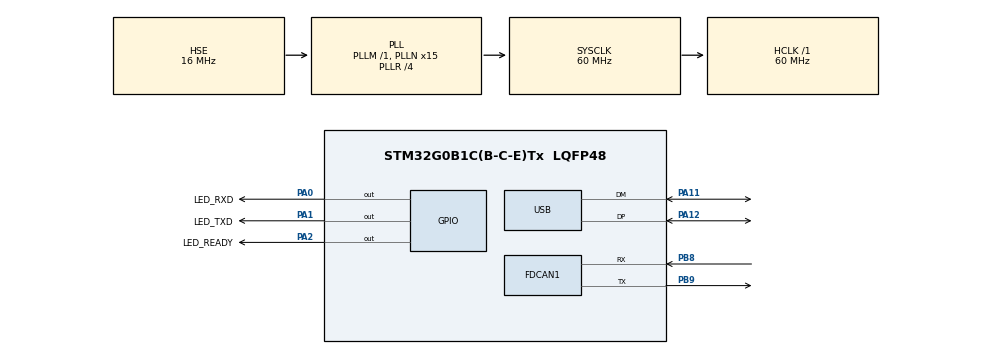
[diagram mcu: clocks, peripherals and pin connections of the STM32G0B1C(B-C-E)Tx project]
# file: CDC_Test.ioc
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FDCAN1.CalculateBaudRateNominal=749999
FDCAN1.CalculateTimeBitNominal=1333
FDCAN1.CalculateTimeQuantumNominal=266.6666666666667
Mcu.Family=STM32G0
Mcu.Name=STM32G0B1C(B-C-E)Tx
Mcu.Package=LQFP48
NVIC.USB_UCPD1_2_IRQn=true\:0\:0\:false\:false\:true\:true\:true\:true
PA0.GPIO_Label=LED_RXD
PA0.Signal=GPIO_Output
PA1.GPIO_Label=LED_TXD
PA1.Signal=GPIO_Output
PA11\ [PA9].Mode=Device
PA11\ [PA9].Signal=USB_DM
PA12\ [PA10].Mode=Device
PA12\ [PA10].Signal=USB_DP
PA13.Mode=Serial_Wire
PA13.Signal=SYS_SWDIO
PA14-BOOT0.Mode=Serial_Wire
PA14-BOOT0.Signal=SYS_SWCLK
PA2.GPIO_Label=LED_READY
PA2.Signal=GPIO_Output
PB8.Mode=FDCAN_Activate
PB8.Signal=FDCAN1_RX
PB9.Mode=FDCAN_Activate
PB9.Signal=FDCAN1_TX
PF0-OSC_IN\ (PF0).Mode=HSE-External-Oscillator
PF0-OSC_IN\ (PF0).Signal=RCC_OSC_IN
PF1-OSC_OUT\ (PF1).Mode=HSE-External-Oscillator
PF1-OSC_OUT\ (PF1).Signal=RCC_OSC_OUT
ProjectManager.HeapSize=0x400
ProjectManager.StackSize=0x400
ProjectManager.TargetToolchain=STM32CubeIDE
RCC.ADCFreq_Value=60000000
RCC.AHBFreq_Value=60000000
RCC.CortexFreq_Value=60000000
RCC.EXTERNAL_CLOCK_VALUE=48000
RCC.HCLKFreq_Value=60000000
RCC.HSE_VALUE=16000000
RCC.HSI48_VALUE=48000000
RCC.HSI_VALUE=16000000
RCC.LSE_VALUE=32768
RCC.PLLN=15
RCC.PLLQ=RCC_PLLQ_DIV8
RCC.PLLR=RCC_PLLR_DIV4
RCC.PLLSourceVirtual=RCC_PLLSOURCE_HSE
RCC.SYSCLKFreq_VALUE=60000000
RCC.SYSCLKSource=RCC_SYSCLKSOURCE_PLLCLK
RCC.USBFreq_Value=48000000
RCC.VCOOutputFreq_Value=240000000
USB_DEVICE.CLASS_NAME_FS=CDC
USB_DEVICE.VirtualMode=Cdc
USB_DEVICE.VirtualModeFS=Cdc_FS
VP_SYS_VS_DBSignals.Mode=DisableDeadBatterySignals
VP_USB_DEVICE_VS_USB_DEVICE_CDC_FS.Mode=CDC_FS
board=custom

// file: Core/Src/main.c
/* USER CODE BEGIN Header */
/**
  ******************************************************************************
  * @file           : main.c
  * @brief          : Main program body
  ******************************************************************************
  * @attention
  *
  * Copyright (c) 2024 STMicroelectronics.
  * All rights reserved.
  *
  * This software is licensed under terms that can be found in the LICENSE file
  * in the root directory of this software component.
  * If no LICENSE file comes with this software, it is provided AS-IS.
  *
  ******************************************************************************
  */
/* USER CODE END Header */
#include "main.h"
#include "fdcan.h"
#include "usb_device.h"
#include "gpio.h"

/* USER CODE BEGIN Includes */
#include "usbd_cdc_if.h"
#include "bootloader.h"
/* USER CODE END Includes */

void SystemClock_Config(void);

int main(void)
{

  /* USER CODE BEGIN 1 */
	bootloader_init();
  /* USER CODE END 1 */

  /* MCU Configuration--------------------------------------------------------*/

  /* Reset of all peripherals, Initializes the Flash interface and the Systick. */
  HAL_Init();

  /* Configure the system clock */
  SystemClock_Config();

  /* Initialize all configured peripherals */
  MX_GPIO_Init();
  MX_FDCAN1_Init();
  MX_USB_Device_Init();
  /* USER CODE BEGIN 2 */
	uint8_t text[30];
	int text_lenth;
	uint32_t count = 0;
  /* USER CODE END 2 */

  /* Infinite loop */
  while (1)
  {

    /* USER CODE BEGIN 3 */
		text_lenth = sprintf((char *) &text,"Hello World !\r\n");
    CDC_Transmit_FS(text,text_lenth);
		HAL_Delay(500);
		text_lenth = sprintf((char *) &text,"Version: %s\r\n",bootloader_get_version());
    CDC_Transmit_FS(text,text_lenth);
		HAL_Delay(500);
		HAL_GPIO_TogglePin(LED_TXD_GPIO_Port,LED_TXD_Pin);
		HAL_GPIO_TogglePin(LED_RXD_GPIO_Port,LED_RXD_Pin);
		HAL_GPIO_TogglePin(LED_READY_GPIO_Port,LED_READY_Pin);
		count ++;
		if(count >= 15)
		{
			bootloader_enter_update_mode();
		}

  }
  /* USER CODE END 3 */
}

void SystemClock_Config(void)
{
  RCC_OscInitTypeDef RCC_OscInitStruct = {0};
  RCC_ClkInitTypeDef RCC_ClkInitStruct = {0};

  /** Configure the main internal regulator output voltage
  */
  HAL_PWREx_ControlVoltageScaling(PWR_REGULATOR_VOLTAGE_SCALE1);

  /** Initializes the RCC Oscillators according to the specified parameters
  * in the RCC_OscInitTypeDef structure.
  */
  RCC_OscInitStruct.OscillatorType = RCC_OSCILLATORTYPE_HSE|RCC_OSCILLATORTYPE_HSI48;
  RCC_OscInitStruct.HSEState = RCC_HSE_ON;
  RCC_OscInitStruct.HSI48State = RCC_HSI48_ON;
  RCC_OscInitStruct.PLL.PLLState = RCC_PLL_ON;
  RCC_OscInitStruct.PLL.PLLSource = RCC_PLLSOURCE_HSE;
  RCC_OscInitStruct.PLL.PLLM = RCC_PLLM_DIV1;
  RCC_OscInitStruct.PLL.PLLN = 15;
  RCC_OscInitStruct.PLL.PLLP = RCC_PLLP_DIV2;
  RCC_OscInitStruct.PLL.PLLQ = RCC_PLLQ_DIV8;
  RCC_OscInitStruct.PLL.PLLR = RCC_PLLR_DIV4;
  if (HAL_RCC_OscConfig(&RCC_OscInitStruct) != HAL_OK)
  {
    Error_Handler();
  }

  /** Initializes the CPU, AHB and APB buses clocks
  */
  RCC_ClkInitStruct.ClockType = RCC_CLOCKTYPE_HCLK|RCC_CLOCKTYPE_SYSCLK
                              |RCC_CLOCKTYPE_PCLK1;
  RCC_ClkInitStruct.SYSCLKSource = RCC_SYSCLKSOURCE_PLLCLK;
  RCC_ClkInitStruct.AHBCLKDivider = RCC_SYSCLK_DIV1;
  RCC_ClkInitStruct.APB1CLKDivider = RCC_HCLK_DIV1;

  if (HAL_RCC_ClockConfig(&RCC_ClkInitStruct, FLASH_LATENCY_2) != HAL_OK)
  {
    Error_Handler();
  }
}

void Error_Handler(void)
{
  __disable_irq();
  while (1)
  {
  }
}
